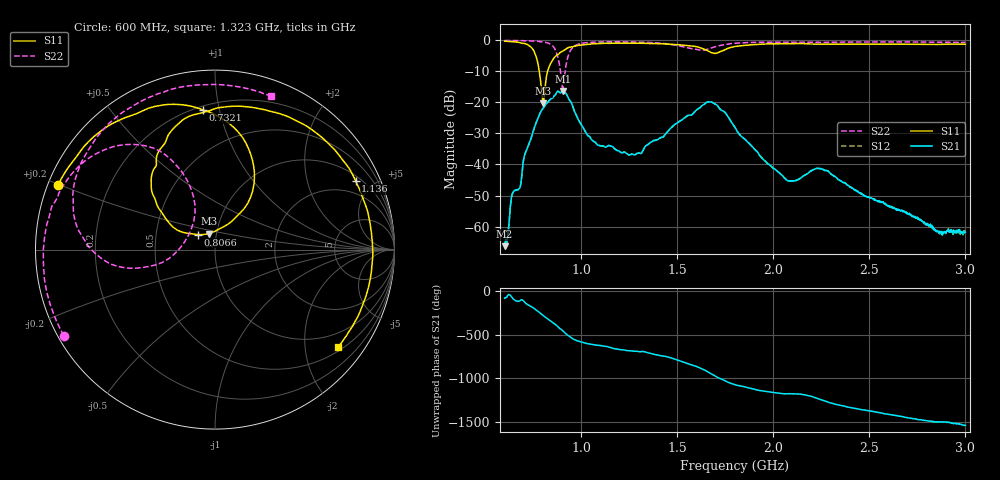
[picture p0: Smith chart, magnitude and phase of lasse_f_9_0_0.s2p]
#  HZ  S  RI  R  50.00
! Rohde & Schwarz ZVB8 2Ports - Version 2.81 - 1145.1010k08 SN: 100113
! Date: 2016-05-04 02:49:25
! Measurements: S11 S21 S12 S22
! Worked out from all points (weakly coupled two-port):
!   1000 points, 600 MHz to 3 GHz, reference 50 ohm
!   highest |S21| = -16.50 dB at 902.7 MHz (marker M1); lowest = -66.2 dB at 600 MHz (marker M2)
!   lowest |S11| = -20.4 dB at 801.8 MHz (marker M3), VSWR 1.21, Z = 45.9 + j8.22 ohm
!   |S11| at or under -10 dB: 780 MHz to 824.5 MHz (44.43 MHz wide, 5.54 % of centre)
!   |S22| runs from -15.5 to -0.3 dB; largest |S21 - S12| = 0.0014
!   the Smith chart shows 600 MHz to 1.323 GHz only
!   S11 on the Smith chart (normalised r, x): 600 MHz: 0.03, +0.20; 732.1 MHz: 0.22, +0.89; 806.6 MHz: 0.82, +0.14; 1.136 GHz: 1.23, +3.95; 1.323 GHz: 0.60, -2.77
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6e8  -0.8748 0.3589  0.000105 -0.000479  0.000145 -0.000549  -0.8427 -0.4803
6.408408e8  -0.7384 0.564  0.000806 -0.00335  0.000849 -0.00329  -0.9091 -0.3302
7.321321e8  -0.0676 0.7789  -0.0229 -0.00503  -0.0229 -0.00501  -0.9531 0.0403
7.681682e8  0.2194 0.434  -0.0382 0.032  -0.0387 0.0319  -0.9191 0.205
8.018018e8  -0.0346 0.0887  0.0121 0.0796  0.0117 0.0799  -0.8416 0.3625
8.066066e8  -0.0954 0.0835  0.0239 0.081  0.024 0.0811  -0.8254 0.3865
8.618619e8  -0.3556 0.3911  0.1223 -0.0363  0.1225 -0.0356  -0.407 0.5817
9.027027e8  -0.28 0.5914  -0.00619 -0.1496  -0.00583 -0.1494  -0.1474 0.0801
9.315315e8  -0.181 0.7215  -0.0992 -0.0614  -0.0989 -0.0612  -0.5455 -0.0926
1.001201e9  0.211 0.7919  -0.0311 0.0289  -0.0312 0.0286  -0.7764 0.3985
1.135736e9  0.7835 0.3836  0.00152 0.0196  0.00158 0.0197  -0.3942 0.8354
1.323123e9  0.6877 -0.5406  0.015 0.0084  0.015 0.00847  0.3135 0.853
1.4e9  0.3844 -0.7705  0.0247 -0.00542  0.0248 -0.00535  0.5676 0.6799
1.522523e9  -0.1632 -0.8041  0.00465 -0.0511  0.00491 -0.051  0.7324 0.2598
1.661862e9  -0.5095 -0.4112  -0.0877 0.0497  -0.0882 0.049  0.7093 0.0262
1.801201e9  -0.7234 -0.2862  0.0386 0.00451  0.0384 0.0047  0.7563 -0.4377
2.072673e9  -0.5219 0.6857  -0.000634 -0.0055  -0.000612 -0.00547  -0.0276 -0.9084
2.2e9  -0.0277 0.8501  -0.00484 -0.00628  -0.00481 -0.00643  -0.3967 -0.8179
2.423423e9  0.748 0.4011  -0.000421 0.00387  -0.000409 0.00384  -0.8111 -0.4241
2.601201e9  0.7697 -0.3491  0.00192 0.000925  0.00193 0.000912  -0.9166 -0.0158
2.798198e9  0.1536 -0.8247  0.000798 -0.000794  0.000765 -0.000742  -0.8111 0.4161
3e9  -0.5431 -0.6468  -0.000146 -0.000806  -0.000127 -0.000771  -0.5103 0.744
